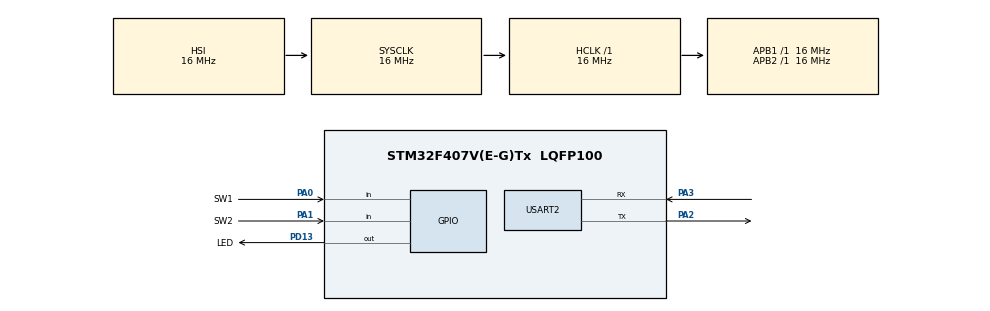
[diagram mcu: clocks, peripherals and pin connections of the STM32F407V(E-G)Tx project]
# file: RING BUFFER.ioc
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Mcu.Family=STM32F4
Mcu.Name=STM32F407V(E-G)Tx
Mcu.Package=LQFP100
NVIC.PriorityGroup=NVIC_PRIORITYGROUP_4
NVIC.USART2_IRQn=true\:0\:0\:false\:false\:true\:true\:true\:true
PA0-WKUP.GPIO_Label=SW1
PA0-WKUP.Signal=GPIO_Input
PA1.GPIO_Label=SW2
PA1.GPIO_PuPd=GPIO_PULLUP
PA1.Signal=GPIO_Input
PA2.Mode=Asynchronous
PA2.Signal=USART2_TX
PA3.Mode=Asynchronous
PA3.Signal=USART2_RX
PD13.GPIO_Label=LED
PD13.Signal=GPIO_Output
ProjectManager.HeapSize=0x200
ProjectManager.StackSize=0x400
ProjectManager.TargetToolchain=STM32CubeIDE
RCC.AHBFreq_Value=16000000
RCC.APB1Freq_Value=16000000
RCC.APB2Freq_Value=16000000
RCC.CortexFreq_Value=16000000
RCC.HSE_VALUE=25000000
RCC.HSI_VALUE=16000000
RCC.LSE_VALUE=32768
RCC.SYSCLKFreq_VALUE=16000000
RCC.VCOOutputFreq_Value=192000000
USART2.VirtualMode=VM_ASYNC
board=custom

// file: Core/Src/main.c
/* USER CODE BEGIN Header */
/**
  ******************************************************************************
  * @file           : main.c
  * @brief          : Main program body
  ******************************************************************************
  * @attention
  *
  * Copyright (c) 2023 STMicroelectronics.
  * All rights reserved.
  *
  * This software is licensed under terms that can be found in the LICENSE file
  * in the root directory of this software component.
  * If no LICENSE file comes with this software, it is provided AS-IS.
  *
  ******************************************************************************
  */
/* USER CODE END Header */
#include "main.h"
#include "usart.h"
#include "gpio.h"

/* USER CODE BEGIN Includes */
#include "lwbtn.h"
#include "lwbtn_opts.h"
#include "lwprintf.h"
#include "lwrb.h"
#include "App.h"
#include "nanomodbus.h"
/* USER CODE END Includes */

/* USER CODE BEGIN PTD */
typedef enum{
	BUTTON_1 = 0,
	BUTTON_2,
	BUTTON_3,
	BUTTON_4,
	BUTTON_5
}Button_Enum_t;

typedef struct{
	GPIO_TypeDef *BTGPIO;
	uint16_t BTPin;
	Button_Enum_t buttonNum;
}Button_Phy_t;

/* USER CODE END PTD */

/* USER CODE BEGIN PV */
Button_Phy_t SW1 = {
		.BTGPIO = SW1_GPIO_Port,
		.BTPin = SW1_Pin,
		.buttonNum = BUTTON_1
};
Button_Phy_t SW2 = {
		.BTGPIO = SW2_GPIO_Port,
		.BTPin = SW2_Pin,
		.buttonNum = BUTTON_2
};
lwbtn_btn_t btns[2] = {
		{.arg = (void*) &SW1},
		{.arg = (void*) &SW2}
};

/* USER CODE END PV */

void SystemClock_Config(void);
/* USER CODE BEGIN PFP */
static uint8_t prv_btn_get_state(struct lwbtn* lw, struct lwbtn_btn* btn);

static void
prv_btn_event(struct lwbtn* lw, struct lwbtn_btn* btn, lwbtn_evt_t evt) ;
/**
 * \brief           Output function to handle all characters for print operation
 * \param[in]       ch: Character to output
 * \param[in]       p: \ref lwprintf_t handle
 * \return          ch on success, 0 on failure
 */
static int
lwprintf_my_out_func(int ch, lwprintf_t* p) {
    uint8_t c = (uint8_t)ch;

    /* Don't print zero */
    if (c == '\0') {
        return ch;
    }
    ITM_SendChar(ch);
    return ch;
}
void
my_buff_evt_fn(lwrb_t* buff, lwrb_evt_type_t type, size_t len){
    switch (type) {
        case LWRB_EVT_RESET:
            lwprintf_printf("[EVT] Buffer reset event!\r\n");
            break;
        case LWRB_EVT_READ:
            lwprintf_printf("[EVT] Buffer read event: %d byte(s)!\r\n", (int)len);
            break;
        case LWRB_EVT_WRITE:
            lwprintf_printf("[EVT] Buffer write event: %d byte(s)!\r\n", (int)len);
            break;
        default: break;
    }
}

int32_t read_serial(uint8_t* buf, uint16_t count, int32_t byte_timeout_ms, void* arg) {
	uint32_t tickStar = HAL_GetTick();
	do{
		if((HAL_GetTick() - tickStar)>= byte_timeout_ms){
			return 0;
		}
	}
	while(rbuart_get_receiveSize(&rb_rx) < count);
	return rbuart_get_data(&rb_rx, buf, count);
}

int32_t write_serial(const uint8_t* buf, uint16_t count, int32_t byte_timeout_ms, void* arg) {
	(void)byte_timeout_ms;
	return rbuart_send(&rb_tx, buf, count);
}
#define COILS_ADDR_MAX 100
#define REGS_ADDR_MAX 32
// Our RTU address
#define RTU_SERVER_ADDRESS 1
// A single nmbs_bitfield variable can keep 2000 coils
nmbs_bitfield server_coils = {0};
uint16_t server_registers[REGS_ADDR_MAX] = {1,2,3,4,5,6,7,78,8};

nmbs_error handle_read_coils(uint16_t address, uint16_t quantity, nmbs_bitfield coils_out, void *arg) {
  if (address + quantity > COILS_ADDR_MAX + 1)
    return NMBS_EXCEPTION_ILLEGAL_DATA_ADDRESS;

  // Read our coils values into coils_out
  for (int i = 0; i < quantity; i++) {
    bool value = nmbs_bitfield_read(server_coils, address + i);
    nmbs_bitfield_write(coils_out, i, value);
  }

  return NMBS_ERROR_NONE;
}

nmbs_error handle_write_multiple_coils(uint16_t address, uint16_t quantity, const nmbs_bitfield coils, void *arg) {
  if (address + quantity > COILS_ADDR_MAX + 1)
    return NMBS_EXCEPTION_ILLEGAL_DATA_ADDRESS;

  // Write coils values to our server_coils
  for (int i = 0; i < quantity; i++) {
    nmbs_bitfield_write(server_coils, address + i, nmbs_bitfield_read(coils, i));
  }

  return NMBS_ERROR_NONE;
}

nmbs_error handler_read_holding_registers(uint16_t address, uint16_t quantity, uint16_t* registers_out, void *arg) {
  if (address + quantity > REGS_ADDR_MAX + 1)
    return NMBS_EXCEPTION_ILLEGAL_DATA_ADDRESS;

  // Read our registers values into registers_out
  for (int i = 0; i < quantity; i++)
    registers_out[i] = server_registers[address + i];

  return NMBS_ERROR_NONE;
}

nmbs_error handle_write_multiple_registers(uint16_t address, uint16_t quantity, const uint16_t* registers, void *arg) {
  if (address + quantity > REGS_ADDR_MAX + 1)
    return NMBS_EXCEPTION_ILLEGAL_DATA_ADDRESS;

  // Write registers values to our server_registers
  for (int i = 0; i < quantity; i++)
    server_registers[address + i] = registers[i];

  return NMBS_ERROR_NONE;
}

/* USER CODE END PFP */

int main(void)
{
  /* USER CODE BEGIN 1 */
	uint8_t rxdata[20] = {0};
  /* USER CODE END 1 */

  /* MCU Configuration--------------------------------------------------------*/

  /* Reset of all peripherals, Initializes the Flash interface and the Systick. */
  HAL_Init();

  /* Configure the system clock */
  SystemClock_Config();

  /* Initialize all configured peripherals */
  MX_GPIO_Init();
  MX_USART2_UART_Init();
  /* USER CODE BEGIN 2 */
  lwprintf_init(lwprintf_my_out_func);
  lwbtn_init_ex(NULL, btns, sizeof(btns) / sizeof(btns[0]), prv_btn_get_state, prv_btn_event);

  app_init();

  nmbs_platform_conf platform_conf = {0};
    platform_conf.transport = NMBS_TRANSPORT_RTU;
    platform_conf.read = read_serial;
    platform_conf.write = write_serial;
    platform_conf.arg = NULL;

    nmbs_callbacks callbacks = {0};
    callbacks.read_coils = handle_read_coils;
    callbacks.write_multiple_coils = handle_write_multiple_coils;
    callbacks.read_holding_registers = handler_read_holding_registers;
    callbacks.write_multiple_registers = handle_write_multiple_registers;

    nmbs_t nmbs;
      nmbs_error err = nmbs_server_create(&nmbs, RTU_SERVER_ADDRESS, &platform_conf, &callbacks);
      if (err != NMBS_ERROR_NONE) {
        Error_Handler();
      }

      nmbs_set_read_timeout(&nmbs, 1000);
        nmbs_set_byte_timeout(&nmbs, 100);
  /* USER CODE END 2 */

  /* Infinite loop */
  /* USER CODE BEGIN WHILE */
  while (1)
  {

	  err = nmbs_server_poll(&nmbs);
	  if (err == NMBS_ERROR_TRANSPORT){
		  Error_Handler();
	  }
    /* USER CODE END WHILE */

  }
}

void SystemClock_Config(void)
{
  RCC_OscInitTypeDef RCC_OscInitStruct = {0};
  RCC_ClkInitTypeDef RCC_ClkInitStruct = {0};

  /** Configure the main internal regulator output voltage
  */
  __HAL_RCC_PWR_CLK_ENABLE();
  __HAL_PWR_VOLTAGESCALING_CONFIG(PWR_REGULATOR_VOLTAGE_SCALE1);

  /** Initializes the RCC Oscillators according to the specified parameters
  * in the RCC_OscInitTypeDef structure.
  */
  RCC_OscInitStruct.OscillatorType = RCC_OSCILLATORTYPE_HSI;
  RCC_OscInitStruct.HSIState = RCC_HSI_ON;
  RCC_OscInitStruct.HSICalibrationValue = RCC_HSICALIBRATION_DEFAULT;
  RCC_OscInitStruct.PLL.PLLState = RCC_PLL_NONE;
  if (HAL_RCC_OscConfig(&RCC_OscInitStruct) != HAL_OK)
  {
    Error_Handler();
  }

  /** Initializes the CPU, AHB and APB buses clocks
  */
  RCC_ClkInitStruct.ClockType = RCC_CLOCKTYPE_HCLK|RCC_CLOCKTYPE_SYSCLK
                              |RCC_CLOCKTYPE_PCLK1|RCC_CLOCKTYPE_PCLK2;
  RCC_ClkInitStruct.SYSCLKSource = RCC_SYSCLKSOURCE_HSI;
  RCC_ClkInitStruct.AHBCLKDivider = RCC_SYSCLK_DIV1;
  RCC_ClkInitStruct.APB1CLKDivider = RCC_HCLK_DIV1;
  RCC_ClkInitStruct.APB2CLKDivider = RCC_HCLK_DIV1;

  if (HAL_RCC_ClockConfig(&RCC_ClkInitStruct, FLASH_LATENCY_0) != HAL_OK)
  {
    Error_Handler();
  }
}

/* USER CODE BEGIN 4 */
static uint8_t prv_btn_get_state(struct lwbtn* lw, struct lwbtn_btn* btn){
	Button_Phy_t *BTN_PHY = (Button_Phy_t*)btn->arg;
	Button_Enum_t button = BTN_PHY->buttonNum;
	uint8_t state = 0;
	/*read button --------------------------------------------------------------------------*/
	if(button == BUTTON_1){
		state = (BTN_PHY->BTGPIO->IDR & BTN_PHY->BTPin) ? 1 : 0;
	}else if(button == BUTTON_2){
		state = (BTN_PHY->BTGPIO->IDR & BTN_PHY->BTPin) ?  0: 1;
	}
	return state;
}

static void prv_btn_event(struct lwbtn* lw, struct lwbtn_btn* btn, lwbtn_evt_t evt) {
	Button_Enum_t button = ((Button_Phy_t*)btn->arg)->buttonNum;
	(void)lw;
	uint8_t event = evt;
	if(button == BUTTON_1){
		switch(event){
		case LWBTN_EVT_ONPRESS:
			lwprintf_printf("button is onpressed\r\n");
			HAL_GPIO_WritePin(LED_GPIO_Port, LED_Pin, GPIO_PIN_SET);
			break;
		case LWBTN_EVT_ONRELEASE:
			lwprintf_printf("button is onrelease\r\n");
			HAL_GPIO_WritePin(LED_GPIO_Port, LED_Pin, GPIO_PIN_RESET);
			break;
		case LWBTN_EVT_ONCLICK:
			lwprintf_printf("button clicked: %u\r\n", btn->click.cnt);
			break;
#if (LWBTN_CFG_USE_KEEPALIVE == 1)
		case LWBTN_EVT_KEEPALIVE:
			break;
#endif
		}
	}else if(BUTTON_2){
		//todo
	}
	return;
}
/* USER CODE END 4 */

void Error_Handler(void)
{
  __disable_irq();
  while (1)
  {
  }
}
